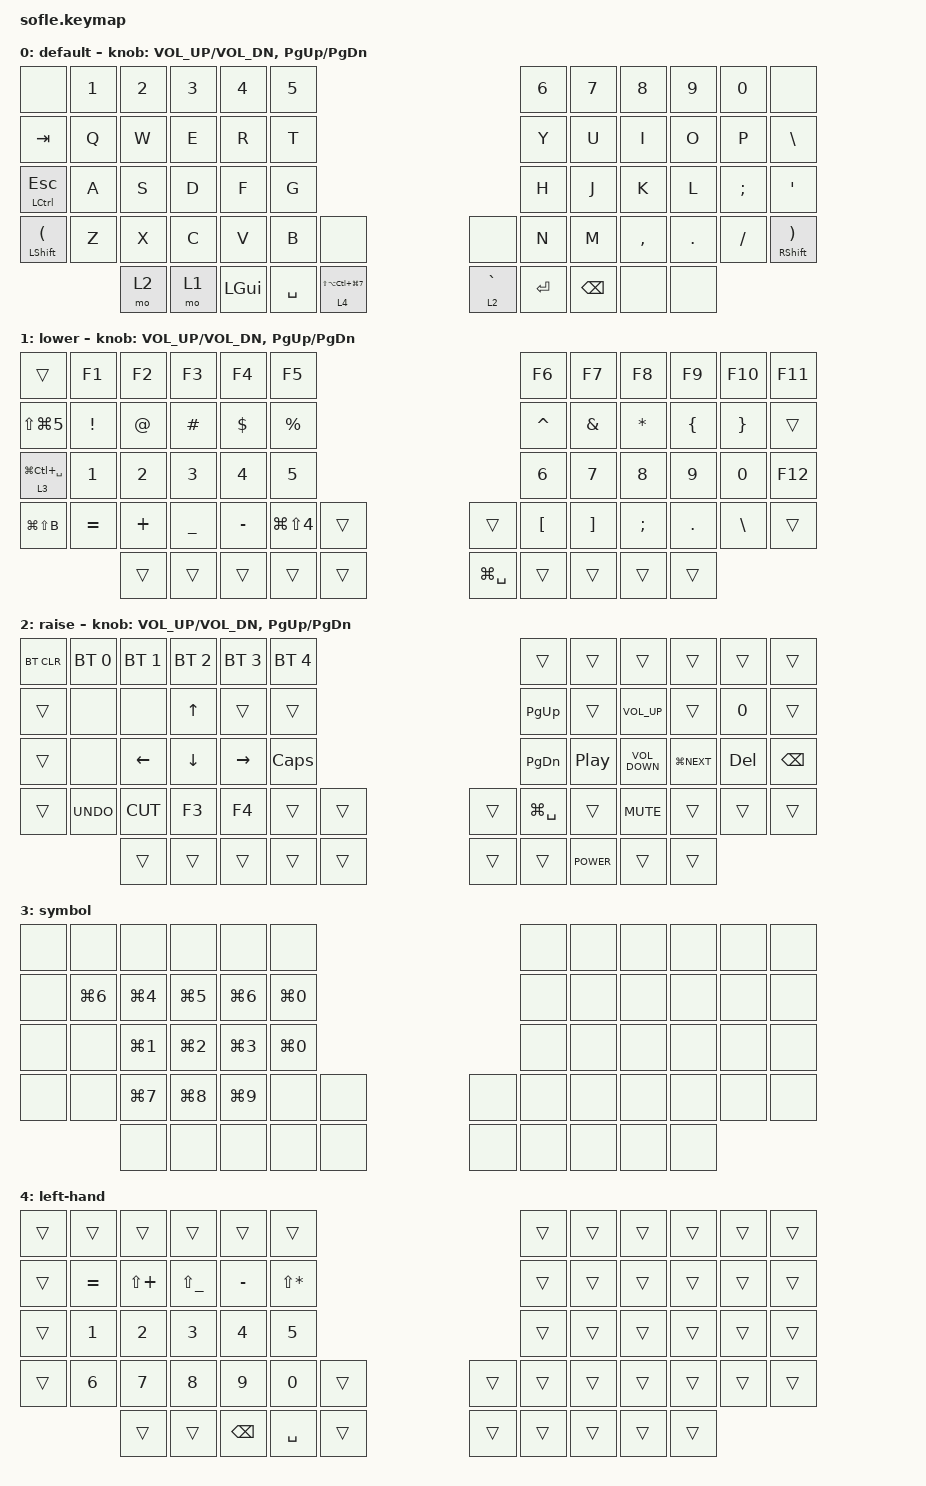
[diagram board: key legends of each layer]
/*
 * Copyright (c) 2020 The ZMK Contributors
 *
 * SPDX-License-Identifier: MIT
 */

#include <behaviors.dtsi>
#include <dt-bindings/zmk/bt.h>
#include <dt-bindings/zmk/keys.h>

#define BASE 0
#define LOWER 1
#define RAISE 2
#define ADJUST 3

/ {
    // Activate ADJUST layer by pressing raise and lower

    conditional_layers {
        compatible = "zmk,conditional-layers";

        adjust_layer {
            if-layers = <LOWER RAISE>;
            then-layer = <ADJUST>;
        };
    };

    keymap {
        compatible = "zmk,keymap";

        default_layer {
            display-name = "default";

            // ------------------------------------------------------------------------------------------------------------
            // |   `   |  1  |  2  |  3   |  4   |  5   |                   |  6   |  7    |  8    |  9   |   0   |       |
            // |  ESC  |  Q  |  W  |  E   |  R   |  T   |                   |  Y   |  U    |  I    |  O   |   P   | BKSPC |
            // |  TAB  |  A  |  S  |  D   |  F   |  G   |                   |  H   |  J    |  K    |  L   |   ;   |   '   |
            // | SHIFT |  Z  |  X  |  C   |  V   |  B   |  MUTE  |  |       |  N   |  M    |  ,    |  .   |   /   | SHIFT |
            //               | GUI | ALT  | CTRL | LOWER|  ENTER |  | SPACE | RAISE| CTRL  | ALT   | GUI  |

            bindings = <
&none                       &kp N1  &kp N2  &kp N3  &kp N4        &kp N5                                                    &kp N6     &kp N7         &kp N8     &kp N9   &kp N0    &none
&kp TAB                     &kp Q   &kp W   &kp E   &kp R         &kp T                                                     &kp Y      &kp U          &kp I      &kp O    &kp P     &kp BACKSLASH
&mt LCTRL ESC               &kp A   &kp S   &kp D   &kp F         &kp G                                                     &kp H      &kp J          &kp K      &kp L    &kp SEMI  &kp SQT
&mt LSHFT LEFT_PARENTHESIS  &kp Z   &kp X   &kp C   &kp V         &kp B      &none                             &none        &kp N      &kp M          &kp COMMA  &kp DOT  &kp FSLH  &mt RSHFT RIGHT_PARENTHESIS
                                    &mo 2   &mo 1   &kp LEFT_GUI  &kp SPACE  &lt 4 LS(LA(LC(LG(NUMBER_7))))    &lt 2 GRAVE  &kp ENTER  &kp BACKSPACE  &none      &none
            >;

            sensor-bindings = <&inc_dec_kp C_VOL_UP C_VOL_DN &inc_dec_kp PG_UP PG_DN>;
        };

        lower_layer {
            display-name = "lower";

            // TODO: Some binds are waiting for shifted keycode support.
            // ------------------------------------------------------------------------------------------------------------
            // |       |  F1 |  F2 |  F3  |  F4  |  F5  |                   |  F6  |  F7   |  F8   |  F9  |  F10  |  F11  |
            // |   `   |  1  |  2  |  3   |  4   |  5   |                   |  6   |  7    |  8    |  9   |   0   |  F12  |
            // |       |  !  |  @  |  #   |  $   |  %   |                   |  ^   |  &    |  *    |  (   |   )   |   |   |
            // |       |  =  |  -  |  +   |  {   |  }   |        |  |       |  [   |  ]    |  ;    |  :   |   \   |       |
            //               |     |      |      |      |        |  |       |      |       |       |      |

            bindings = <
&trans                &kp F1        &kp F2        &kp F3        &kp F4        &kp F5                                         &kp F6        &kp F7         &kp F8        &kp F9          &kp F10          &kp F11
&kp LS(LG(NUMBER_5))  &kp EXCL      &kp AT        &kp HASH      &kp DOLLAR    &kp PERCENT                                    &kp CARET     &kp AMPERSAND  &kp STAR      &kp LEFT_BRACE  &kp RIGHT_BRACE  &trans
&lt 3 LG(LC(SPACE))   &kp NUMBER_1  &kp NUMBER_2  &kp NUMBER_3  &kp NUMBER_4  &kp NUMBER_5                                   &kp NUMBER_6  &kp NUMBER_7   &kp NUMBER_8  &kp NUMBER_9    &kp NUMBER_0     &kp F12
&kp LG(LS(B))         &kp EQUAL     &kp PLUS      &kp UNDER     &kp MINUS     &kp LG(LS(NUMBER_4))  &trans    &trans         &kp LBKT      &kp RBKT       &kp SEMI      &kp DOT         &kp BSLH         &trans
                                    &trans        &trans        &trans        &trans                &trans    &kp LG(SPACE)  &trans        &trans         &trans        &trans
            >;

            sensor-bindings = <&inc_dec_kp C_VOL_UP C_VOL_DN &inc_dec_kp PG_UP PG_DN>;
        };

        raise_layer {
            display-name = "raise";

            // ------------------------------------------------------------------------------------------------------------
            // | BTCLR | BT1  | BT2  |  BT3  |  BT4  |  BT5 |                |      |      |       |      |       |       |
            // |       | INS  | PSCR | GUI   |       |      |                | PGUP |      |   ^   |      |       |       |
            // |       | ALT  | CTRL | SHIFT |       | CAPS |                | PGDN |   <- |   v   |  ->  |  DEL  | BKSPC |
            // |       | UNDO | CUT  | COPY  | PASTE |      |      |  |      |      |      |       |      |       |       |
            //                |      |       |       |      |      |  |      |      |      |       |      |

            bindings = <
&bt BT_CLR  &bt BT_SEL 0  &bt BT_SEL 1  &bt BT_SEL 2  &bt BT_SEL 3  &bt BT_SEL 4                    &trans         &trans            &trans             &trans          &trans   &trans
&trans      &none         &none         &kp UP_ARROW  &trans        &trans                          &kp PG_UP      &trans            &kp C_VOLUME_UP    &trans          &kp N0   &trans
&trans      &none         &kp LEFT      &kp DOWN      &kp RIGHT     &kp CLCK                        &kp PG_DN      &kp C_PLAY_PAUSE  &kp C_VOLUME_DOWN  &kp LG(C_NEXT)  &kp DEL  &kp BSPC
&trans      &kp K_UNDO    &kp K_CUT     &kp F3        &kp F4        &trans        &trans    &trans  &kp LG(SPACE)  &trans            &kp C_MUTE         &trans          &trans   &trans
                          &trans        &trans        &trans        &trans        &trans    &trans  &trans         &kp C_POWER       &trans             &trans
            >;

            sensor-bindings = <&inc_dec_kp C_VOL_UP C_VOL_DN &inc_dec_kp PG_UP PG_DN>;
        };

        symbol_layer {
            // ----------------------------------------------------------------------------------------------------------------------------
            // | BTCLR  |  BT1    |  BT2    |   BT3   |   BT4   |   BT5   |                  |      |      |       |      |       |       |
            // | EXTPWR | RGB_HUD | RGB_HUI | RGB_SAD | RGB_SAI | RGB_EFF |                  |      |      |       |      |       |       |
            // |        | RGB_BRD | RGB_BRI |         |         |         |                  |      |      |       |      |       |       |
            // |        |         |         |         |         |         | RGB_TOG | |      |      |      |       |      |       |       |
            //                    |         |         |         |         |         | |      |      |      |       |      |

            display-name = "symbol";
            bindings = <
&none  &none             &none             &none             &none             &none                             &none  &none  &none  &none  &none  &none
&none  &kp LG(NUMBER_6)  &kp LG(NUMBER_4)  &kp LG(NUMBER_5)  &kp LG(NUMBER_6)  &kp LG(NUMBER_0)                  &none  &none  &none  &none  &none  &none
&none  &none             &kp LG(NUMBER_1)  &kp LG(NUMBER_2)  &kp LG(NUMBER_3)  &kp LG(NUMBER_0)                  &none  &none  &none  &none  &none  &none
&none  &none             &kp LG(NUMBER_7)  &kp LG(NUMBER_8)  &kp LG(NUMBER_9)  &none             &none    &none  &none  &none  &none  &none  &none  &none
                         &none             &none             &none             &none             &none    &none  &none  &none  &none  &none
            >;
        };

        left-hand {
            bindings = <
&trans  &trans     &trans        &trans         &trans     &trans                          &trans  &trans  &trans  &trans  &trans  &trans
&trans  &kp EQUAL  &kp LS(PLUS)  &kp LS(UNDER)  &kp MINUS  &kp LS(STAR)                    &trans  &trans  &trans  &trans  &trans  &trans
&trans  &kp N1     &kp N2        &kp N3         &kp N4     &kp N5                          &trans  &trans  &trans  &trans  &trans  &trans
&trans  &kp N6     &kp N7        &kp N8         &kp N9     &kp N0        &trans    &trans  &trans  &trans  &trans  &trans  &trans  &trans
                   &trans        &trans         &kp BSPC   &kp SPACE     &trans    &trans  &trans  &trans  &trans  &trans
            >;
        };
    };
};
